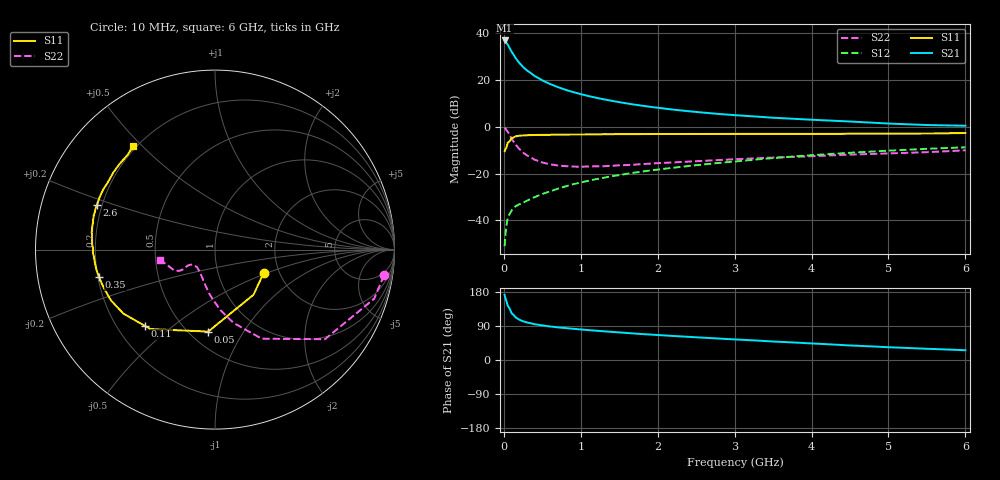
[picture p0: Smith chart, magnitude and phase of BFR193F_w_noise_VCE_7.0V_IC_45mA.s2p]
! Infineon Technologies  Discrete & RF Semiconductors
! BFR193F
! VCE =  7.0 V,  IC =  45 mA
! Common Emitter S-Parameters:  Jan 2017
# GHz  S  MA  R  50
!  f  S11  S21  S12  S22
! GHz  MAG  ANG  MAG  ANG  MAG  ANG  MAG  ANG
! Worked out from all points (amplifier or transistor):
!   77 points, 10 MHz to 6 GHz, reference 50 ohm
!   highest |S21| = 36.9 dB at 10 MHz (marker M1)
!   |S21| within 3 dB of that: start of sweep to 71.08 MHz
!   unconditionally stable (mu >= 1): 979.7 MHz to 2.567 GHz
!   at 130 MHz: K = 0.44, MSG = 32.7 dB, |S12| = -34.7 dB
!   at 2.2 GHz: K = 1.02, MAG = 11.7 dB, |S12| = -17.5 dB
!   at 6 GHz: K = 0.86, MSG = 4.6 dB, |S12| = -8.8 dB
!   lowest NFmin = 1.41 dB at 450 MHz
!   S11 on the Smith chart (normalised r, x): 10 MHz: 1.66, -0.47; 50 MHz: 0.61, -0.71; 110 MHz: 0.32, -0.40; 350 MHz: 0.20, -0.11; 2.6 GHz: 0.18, +0.18; 6 GHz: 0.19, +0.47
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0.01  0.3006 -25.5  70.28 171.7  0.0028 82.8  0.9521 -8.7
0.02  0.3307 -49.5  67.69 163.5  0.0048 80.0  0.9281 -17.1
0.05  0.4583 -94.7  57.66 143.7  0.0113 61.9  0.7902 -39.2
0.1  0.5705 -129.1  40.58 123.5  0.0161 53.1  0.5602 -62.4
0.11  0.5771 -132.5  38.37 121.9  0.0169 52.4  0.5303 -64.5
0.15  0.6224 -145.0  29.95 113.0  0.0199 50.0  0.4206 -75.9
0.2  0.645 -153.9  23.39 106.5  0.022 51.8  0.3384 -84.9
0.25  0.6531 -160.0  19.05 102.2  0.0238 53.9  0.2806 -92.1
0.3  0.6594 -164.0  16.09 99.0  0.0262 56.0  0.2455 -97.8
0.35  0.6634 -166.8  14.13 97.0  0.0287 58.4  0.2212 -101.9
0.4  0.669 -169.6  12.2 94.4  0.0313 60.4  0.1982 -106.9
0.5  0.6731 -173.4  9.846 91.3  0.0365 63.3  0.1726 -114.2
0.6  0.6753 -176.2  8.25 88.5  0.0417 66.1  0.1578 -120.4
0.8  0.6789 179.6  6.209 84.3  0.0531 69.1  0.1443 -130.0
1.1  0.6874 174.6  4.552 78.9  0.0702 71.6  0.142 -138.7
1.5  0.6952 169.8  3.37 72.8  0.0927 72.9  0.1501 -145.5
2.1  0.7014 163.6  2.444 64.7  0.1273 73.1  0.17 -149.3
2.6  0.7033 159.4  2.007 58.8  0.157 72.4  0.1875 -149.1
3.1  0.706 155.1  1.733 53.3  0.1874 71.4  0.2056 -148.5
4.1  0.7058 146.5  1.393 42.7  0.2534 67.5  0.2391 -150.4
5.1  0.7149 136.7  1.157 32.9  0.3147 62.1  0.2729 -159.9
6  0.7367 128.2  1.054 25.8  0.3649 57.0  0.314 -169.8
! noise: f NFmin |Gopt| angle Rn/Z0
0.45  1.41  0.45  180  0.07
0.9  1.49  0.46  -179  0.07
1.9  2.06  0.59  -164  0.09
2.4  2.37  0.61  -156  0.14
